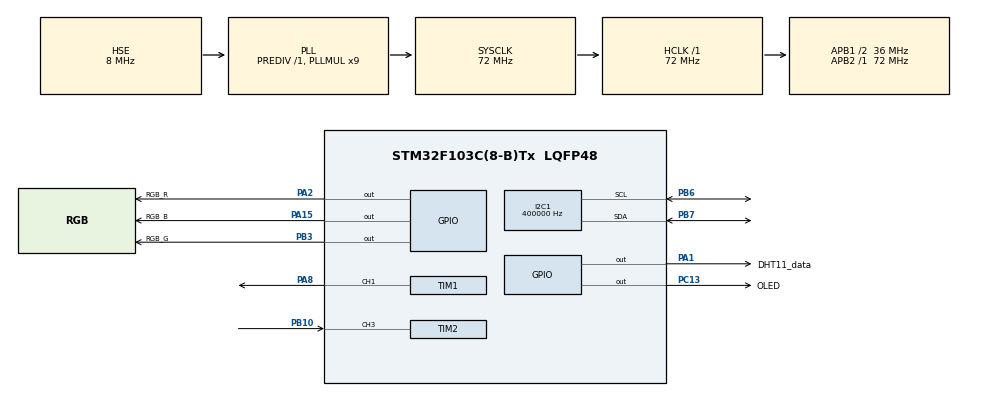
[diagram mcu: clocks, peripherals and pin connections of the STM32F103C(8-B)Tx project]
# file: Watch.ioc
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FREERTOS.Tasks01=defaultTask,24,128,StartDefaultTask,Default,NULL,Dynamic,NULL,NULL
FREERTOS.configTOTAL_HEAP_SIZE=5120
FREERTOS.configUSE_NEWLIB_REENTRANT=1
I2C1.ClockSpeed=400000
I2C1.I2C_Mode=I2C_Fast
IWDG.Prescaler=IWDG_PRESCALER_64
Mcu.Family=STM32F1
Mcu.Name=STM32F103C(8-B)Tx
Mcu.Package=LQFP48
NVIC.PriorityGroup=NVIC_PRIORITYGROUP_4
NVIC.TIM2_IRQn=true\:5\:0\:false\:false\:true\:true\:true\:true\:true
NVIC.TIM4_IRQn=true\:1\:0\:true\:false\:true\:false\:false\:true\:true
NVIC.TimeBase=TIM4_IRQn
NVIC.TimeBaseIP=TIM4
PA1.GPIO_Label=DHT11_data
PA1.GPIO_ModeDefaultOutputPP=GPIO_MODE_OUTPUT_OD
PA1.GPIO_PuPd=GPIO_NOPULL
PA1.GPIO_Speed=GPIO_SPEED_FREQ_HIGH
PA1.PinState=GPIO_PIN_SET
PA1.Signal=GPIO_Output
PA13.Mode=Serial_Wire
PA13.Signal=SYS_JTMS-SWDIO
PA14.Mode=Serial_Wire
PA14.Signal=SYS_JTCK-SWCLK
PA15.GPIO_Label=RGB_B
PA15.PinState=GPIO_PIN_SET
PA15.Signal=GPIO_Output
PA2.GPIO_Label=RGB_R
PA2.PinState=GPIO_PIN_SET
PA2.Signal=GPIO_Output
PA8.Signal=S_TIM1_CH1
PB10.Signal=S_TIM2_CH3
PB3.GPIO_Label=RGB_G
PB3.PinState=GPIO_PIN_SET
PB3.Signal=GPIO_Output
PB6.Mode=I2C
PB6.Signal=I2C1_SCL
PB7.Mode=I2C
PB7.Signal=I2C1_SDA
PC13-TAMPER-RTC.GPIO_Label=OLED
PC13-TAMPER-RTC.PinState=GPIO_PIN_SET
PC13-TAMPER-RTC.Signal=GPIO_Output
PC14-OSC32_IN.Mode=LSE-External-Oscillator
PC14-OSC32_IN.Signal=RCC_OSC32_IN
PC15-OSC32_OUT.Mode=LSE-External-Oscillator
PC15-OSC32_OUT.Signal=RCC_OSC32_OUT
PD0-OSC_IN.Mode=HSE-External-Oscillator
PD0-OSC_IN.Signal=RCC_OSC_IN
PD1-OSC_OUT.Mode=HSE-External-Oscillator
PD1-OSC_OUT.Signal=RCC_OSC_OUT
ProjectManager.HeapSize=0x200
ProjectManager.StackSize=0x400
ProjectManager.TargetToolchain=STM32CubeIDE
RCC.AHBFreq_Value=72000000
RCC.APB1CLKDivider=RCC_HCLK_DIV2
RCC.APB1Freq_Value=36000000
RCC.APB1TimFreq_Value=72000000
RCC.APB2Freq_Value=72000000
RCC.APB2TimFreq_Value=72000000
RCC.HCLKFreq_Value=72000000
RCC.PLLMUL=RCC_PLL_MUL9
RCC.PLLSourceVirtual=RCC_PLLSOURCE_HSE
RCC.SYSCLKFreq_VALUE=72000000
RCC.SYSCLKSource=RCC_SYSCLKSOURCE_PLLCLK
RCC.USBFreq_Value=72000000
SH.S_TIM1_CH1.0=TIM1_CH1,PWM Generation1 CH1
SH.S_TIM2_CH3.0=TIM2_CH3,Input_Capture3_from_TI3
TIM1.AutoReloadPreload=TIM_AUTORELOAD_PRELOAD_ENABLE
TIM1.Channel-PWM\ Generation1\ CH1=TIM_CHANNEL_1
TIM1.ClockDivision=TIM_CLOCKDIVISION_DIV2
TIM1.Period=9999
TIM1.Prescaler=7199
TIM2.Channel-Input_Capture3_from_TI3=TIM_CHANNEL_3
TIM2.Prescaler=72-1
VP_FREERTOS_VS_CMSIS_V2.Mode=CMSIS_V2
VP_IWDG_VS_IWDG.Mode=IWDG_Activate
VP_SYS_VS_tim4.Mode=TIM4
VP_TIM1_VS_ClockSourceINT.Mode=Internal
VP_TIM2_VS_ClockSourceINT.Mode=Internal
board=custom

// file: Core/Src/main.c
/* USER CODE BEGIN Header */
/**
  ******************************************************************************
  * @file           : main.c
  * @brief          : Main program body
  ******************************************************************************
  * @attention
  *
  * Copyright (c) 2025 STMicroelectronics.
  * All rights reserved.
  *
  * This software is licensed under terms that can be found in the LICENSE file
  * in the root directory of this software component.
  * If no LICENSE file comes with this software, it is provided AS-IS.
  *
  ******************************************************************************
  */
/* USER CODE END Header */
#include "main.h"
#include "cmsis_os.h"
#include "i2c.h"
#include "iwdg.h"
#include "tim.h"
#include "gpio.h"

void SystemClock_Config(void);
void MX_FREERTOS_Init(void);

int main(void)
{

  /* MCU Configuration--------------------------------------------------------*/

  /* Reset of all peripherals, Initializes the Flash interface and the Systick. */
  HAL_Init();

  /* Configure the system clock */
  SystemClock_Config();

  /* Initialize all configured peripherals */
  MX_GPIO_Init();
  MX_I2C1_Init();
  MX_TIM1_Init();
  MX_TIM2_Init();
 // MX_IWDG_Init();

  /* Init scheduler */
  osKernelInitialize();  /* Call init function for freertos objects (in cmsis_os2.c) */
  MX_FREERTOS_Init();

  /* Start scheduler */
  osKernelStart();

  /* We should never get here as control is now taken by the scheduler */

  /* Infinite loop */
  while (1)
  {

  }
}

void SystemClock_Config(void)
{
  RCC_OscInitTypeDef RCC_OscInitStruct = {0};
  RCC_ClkInitTypeDef RCC_ClkInitStruct = {0};

  /** Initializes the RCC Oscillators according to the specified parameters
  * in the RCC_OscInitTypeDef structure.
  */
  RCC_OscInitStruct.OscillatorType = RCC_OSCILLATORTYPE_LSI|RCC_OSCILLATORTYPE_HSE;
  RCC_OscInitStruct.HSEState = RCC_HSE_ON;
  RCC_OscInitStruct.HSEPredivValue = RCC_HSE_PREDIV_DIV1;
  RCC_OscInitStruct.HSIState = RCC_HSI_ON;
  RCC_OscInitStruct.LSIState = RCC_LSI_ON;
  RCC_OscInitStruct.PLL.PLLState = RCC_PLL_ON;
  RCC_OscInitStruct.PLL.PLLSource = RCC_PLLSOURCE_HSE;
  RCC_OscInitStruct.PLL.PLLMUL = RCC_PLL_MUL9;
  if (HAL_RCC_OscConfig(&RCC_OscInitStruct) != HAL_OK)
  {
    Error_Handler();
  }

  /** Initializes the CPU, AHB and APB buses clocks
  */
  RCC_ClkInitStruct.ClockType = RCC_CLOCKTYPE_HCLK|RCC_CLOCKTYPE_SYSCLK
                              |RCC_CLOCKTYPE_PCLK1|RCC_CLOCKTYPE_PCLK2;
  RCC_ClkInitStruct.SYSCLKSource = RCC_SYSCLKSOURCE_PLLCLK;
  RCC_ClkInitStruct.AHBCLKDivider = RCC_SYSCLK_DIV1;
  RCC_ClkInitStruct.APB1CLKDivider = RCC_HCLK_DIV2;
  RCC_ClkInitStruct.APB2CLKDivider = RCC_HCLK_DIV1;

  if (HAL_RCC_ClockConfig(&RCC_ClkInitStruct, FLASH_LATENCY_2) != HAL_OK)
  {
    Error_Handler();
  }
}

void HAL_TIM_PeriodElapsedCallback(TIM_HandleTypeDef *htim)
{
  if (htim->Instance == TIM4)
  {
    HAL_IncTick();
  }
}

void Error_Handler(void)
{
  __disable_irq();
  while (1)
  {
  }
}

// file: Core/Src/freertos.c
/* USER CODE BEGIN Header */
/**
  ******************************************************************************
  * File Name          : freertos.c
  * Description        : Code for freertos applications
  ******************************************************************************
  * @attention
  *
  * Copyright (c) 2025 STMicroelectronics.
  * All rights reserved.
  *
  * This software is licensed under terms that can be found in the LICENSE file
  * in the root directory of this software component.
  * If no LICENSE file comes with this software, it is provided AS-IS.
  *
  ******************************************************************************
  */
/* USER CODE END Header */

#include "FreeRTOS.h"
#include "task.h"
#include "main.h"
#include "cmsis_os.h"

/* USER CODE BEGIN Includes */
#include "timers.h"
#include "queue.h"
#include "IR_rec.h"
#include "MyData.h"
#include "iwdg.h"
/* USER CODE END Includes */

/* USER CODE BEGIN Variables */
TimerHandle_t g_Timer;
TimerHandle_t g_Clock_Timer;

QueueHandle_t g_xQueueMenu;

osMutexId_t displayMutexHandle;
/* USER CODE END Variables */
/* Definitions for defaultTask */
osThreadId_t defaultTaskHandle;
const osThreadAttr_t defaultTask_attributes = {
  .name = "defaultTask",
  .stack_size = 128 * 4,
  .priority = (osPriority_t) osPriorityNormal,
};

/* USER CODE BEGIN FunctionPrototypes */

osThreadId_t ShowTimerHandle;
const osThreadAttr_t TimerTask_attributes = {
  .name = "ShowTimerTask",
  .stack_size = 128 * 4,
  .priority = (osPriority_t) osPriorityNormal,
};

osThreadId_t ShowmeuTaskHandle;
const osThreadAttr_t ShowmeuTask_attributes = {
  .name = "ShowmeuTask",
  .stack_size = 128 * 4,
  .priority = (osPriority_t) osPriorityNormal,
};

osThreadId_t ShowDHT11Handle;
const osThreadAttr_t Dht11Task_attributes = {
  .name = "ShowDht11Task",
  .stack_size = 128 * 4,
  .priority = (osPriority_t) osPriorityNormal,
};

osThreadId_t ShowRGBHandle;
const osThreadAttr_t RGBTask_attributes = {
  .name = "ShowRGBTask",
  .stack_size = 128 * 4,
  .priority = (osPriority_t) osPriorityNormal,
};

osThreadId_t ShowCalendarHandle;
const osThreadAttr_t CalendarTask_attributes = {
  .name = "ShowCalendarTask",
  .stack_size = 128 * 4,
  .priority = (osPriority_t) osPriorityNormal,
};

osThreadId_t ShowClockHandle;
const osThreadAttr_t clockTask_attributes = {
  .name = "ShowClockTask",
  .stack_size = 128 * 4,
  .priority = (osPriority_t) osPriorityNormal,
};

extern void ShowTimerTask(void *pvParameters);
extern void ShowmeuTask(void *pvParameters);
extern void ShowDHT11Task(void *pvParameters);
extern void ShowRGBTask(void *pvParameters);
extern void ShowCalendarTask(void *params);
extern void ShowClockTask(void *params);

extern void TimerCallBackFun(TimerHandle_t xTimer);
extern void ClockTimerCallBackFun(TimerHandle_t xTimer);

void BSP_Init()
{
  IR_Init();
  u8g2_Init();
}

/* USER CODE END FunctionPrototypes */

void StartDefaultTask(void *argument);

void MX_FREERTOS_Init(void); /* (MISRA C 2004 rule 8.1) */

void MX_FREERTOS_Init(void) {

  /* USER CODE BEGIN RTOS_MUTEX */
  /* add mutexes, ... */
  displayMutexHandle = osMutexNew(NULL);

  /* USER CODE END RTOS_MUTEX */

  /* USER CODE BEGIN RTOS_TIMERS */
  /* start timers, add new ones, ... */
  	g_Timer = xTimerCreate("Timer1",
				1000,
				pdTRUE,
				NULL,
				(TimerCallbackFunction_t)TimerCallBackFun);

    g_Clock_Timer = xTimerCreate("Timer2",
				100,
				pdTRUE,
				NULL,
				(TimerCallbackFunction_t)ClockTimerCallBackFun);
  /* USER CODE END RTOS_TIMERS */

  /* USER CODE BEGIN RTOS_QUEUES */
  /* add queues, ... */
  g_xQueueMenu = xQueueCreate(1, 6);
  /* USER CODE END RTOS_QUEUES */

  /* Create the thread(s) */
  /* creation of defaultTask */
  defaultTaskHandle = osThreadNew(StartDefaultTask, NULL, &defaultTask_attributes);

  /* USER CODE BEGIN RTOS_THREADS */
  /* add threads, ... */
  ShowmeuTaskHandle = osThreadNew(ShowmeuTask, NULL, &ShowmeuTask_attributes);
  ShowTimerHandle = osThreadNew(ShowTimerTask, NULL, &TimerTask_attributes);
  ShowDHT11Handle = osThreadNew(ShowDHT11Task, NULL, &Dht11Task_attributes);
  ShowRGBHandle = osThreadNew(ShowRGBTask, NULL, &RGBTask_attributes);
  ShowCalendarHandle = osThreadNew(ShowCalendarTask, NULL, &CalendarTask_attributes);
  ShowClockHandle = osThreadNew(ShowClockTask, NULL, &clockTask_attributes);
  /* USER CODE END RTOS_THREADS */

  /* USER CODE BEGIN RTOS_EVENTS */
  /* add events, ... */
  vTaskSuspend(ShowRGBHandle);
  vTaskSuspend(ShowmeuTaskHandle);
  vTaskSuspend(ShowDHT11Handle);
  vTaskSuspend(ShowCalendarHandle);
  vTaskSuspend(ShowClockHandle);

  /* USER CODE END RTOS_EVENTS */

}

void StartDefaultTask(void *argument)
{
  /* USER CODE BEGIN StartDefaultTask */
  BSP_Init();

  uint16_t command;
  Key_data Key_data;

  if(g_Timer != NULL)
	{
		xTimerStart(g_Timer, 0);
	}
  /* Infinite loop */
  for(;;)
  {
      command = IR_GetCommand();
      if(command == Left_Button)
      {
        Key_data.ldata = 1;
        xQueueSend(g_xQueueMenu, &Key_data, 0);
        Key_data.ldata = 0;
      }
      else if(command == Right_Button)
      {
        Key_data.rdata = 1;
        xQueueSend(g_xQueueMenu, &Key_data, 0);
        Key_data.rdata = 0;
      }
      else if(command == Up_Button)
      {
        Key_data.updata = 1;
        xQueueSend(g_xQueueMenu, &Key_data, 0);
        Key_data.updata = 0;
      }
      else if(command == Down_Button)
      {
        Key_data.downdata = 1;
        xQueueSend(g_xQueueMenu, &Key_data, 0);
        Key_data.downdata = 0;
      }
      else if(command == Ok_Button)
      {
        Key_data.okdata = 1;
        xQueueSend(g_xQueueMenu, &Key_data, 0);
        Key_data.okdata = 0;
      }
      else if(command == Exit_Button)
      {
        Key_data.exdata = 1;
        xQueueSend(g_xQueueMenu, &Key_data, 0);
        Key_data.exdata = 0;
      }
    //HAL_IWDG_Refresh(&hiwdg);
    osDelay(1);
  }
  /* USER CODE END StartDefaultTask */
}
